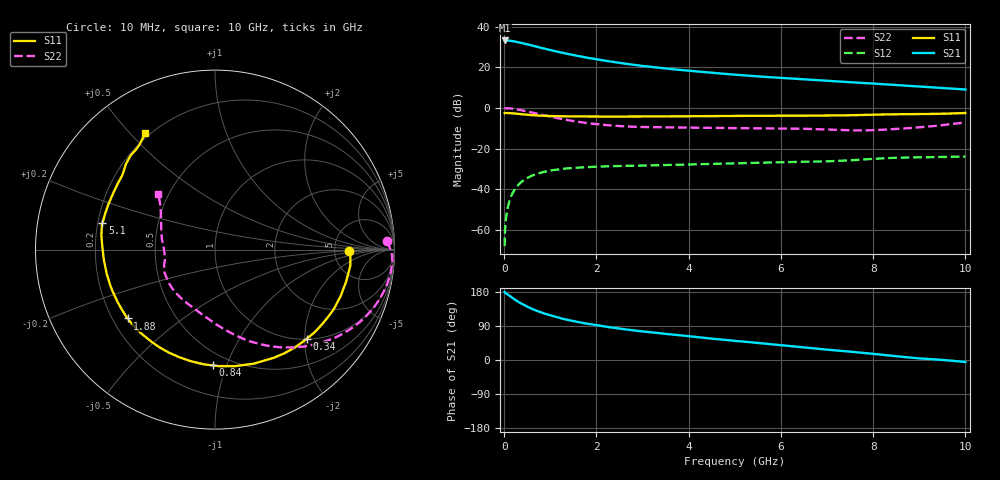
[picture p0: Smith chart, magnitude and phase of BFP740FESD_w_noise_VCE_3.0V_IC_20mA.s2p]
! Infineon Technologies  Discrete & RF Semiconductors
! BFP740FESD
! VCE =  3.0 V,  IC =  20 mA
! Common Emitter S-Parameters:  Jan 2016
# GHz  S  MA  R  50
!  f  S11  S21  S12  S22
! GHz  MAG  ANG  MAG  ANG  MAG  ANG  MAG  ANG
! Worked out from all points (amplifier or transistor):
!   233 points, 10 MHz to 10 GHz, reference 50 ohm
!   highest |S21| = 33.3 dB at 10 MHz (marker M1)
!   |S21| within 3 dB of that: start of sweep to 693.2 MHz
!   unconditionally stable (mu >= 1): 5.679 GHz to end of sweep
!   at 200 MHz: K = 0.09, MSG = 37.1 dB, |S12| = -41.2 dB
!   at 1.74 GHz: K = 0.44, MSG = 27.1 dB, |S12| = -29.1 dB
!   at 10 GHz: K = 1.18, MAG = 13.9 dB, |S12| = -23.9 dB
!   lowest NFmin = 0.80 dB at 450 MHz
!   S11 on the Smith chart (normalised r, x): 10 MHz: 6.96, -0.29; 340 MHz: 1.01, -2.05; 840 MHz: 0.40, -0.89; 1.88 GHz: 0.26, -0.33; 5.1 GHz: 0.22, +0.11; 10 GHz: 0.18, +0.55
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0.01  0.7491 -0.7  45.99 179.7  0.0004 131.3  0.9607 2.7
0.02  0.7555 -2.6  45.88 177.8  0.001 92.5  0.9851 -1.0
0.1  0.7522 -13.7  45.56 171.1  0.0045 82.1  0.9867 -8.1
0.195  0.7403 -26.3  44.21 162.6  0.0085 76.9  0.9609 -16.0
0.28  0.724 -37.0  42.35 155.6  0.0118 71.8  0.9275 -22.4
0.34  0.7129 -44.2  40.98 151.2  0.014 68.7  0.9009 -26.8
0.45  0.6949 -56.4  38.25 143.8  0.0176 63.3  0.8494 -33.8
0.6  0.6712 -71.3  34.63 135.0  0.0217 56.8  0.7771 -42.4
0.7  0.6587 -80.3  32.41 130.1  0.0239 53.2  0.7327 -47.5
0.84  0.6452 -91.2  29.55 124.0  0.0265 48.7  0.6745 -53.9
1  0.636 -102.5  26.72 117.7  0.029 44.5  0.6151 -60.8
1.2  0.6288 -114.3  23.72 111.0  0.0313 40.0  0.5518 -68.5
1.4  0.6238 -124.2  21.16 105.2  0.033 36.4  0.4996 -75.3
1.68  0.6207 -135.3  18.35 98.4  0.0347 32.8  0.4452 -83.7
1.88  0.6199 -141.8  16.68 94.2  0.0356 30.9  0.4161 -89.2
2.2  0.6169 -150.6  14.53 88.0  0.0367 28.4  0.382 -97.1
2.6  0.6168 -160.0  12.46 81.2  0.0378 26.4  0.355 -106.3
3.4  0.6203 -173.3  9.65 70.4  0.0393 25.0  0.3364 -118.8
5.1  0.6443 166.7  6.486 49.5  0.0438 24.9  0.3214 -138.0
6.8  0.6519 147.7  4.827 29.7  0.0485 25.2  0.3012 -160.0
8.4  0.7007 132.8  3.744 11.1  0.0592 24.8  0.3018 168.6
10  0.7558 121.1  2.858 -5.3  0.0639 18.2  0.4431 135.3
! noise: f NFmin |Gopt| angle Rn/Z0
0.45  0.8  0.01  -145  0.08
2.4  0.82  0.04  -161  0.09
5.5  0.98  0.22  166  0.08
10  1.49  0.37  -124  0.16
